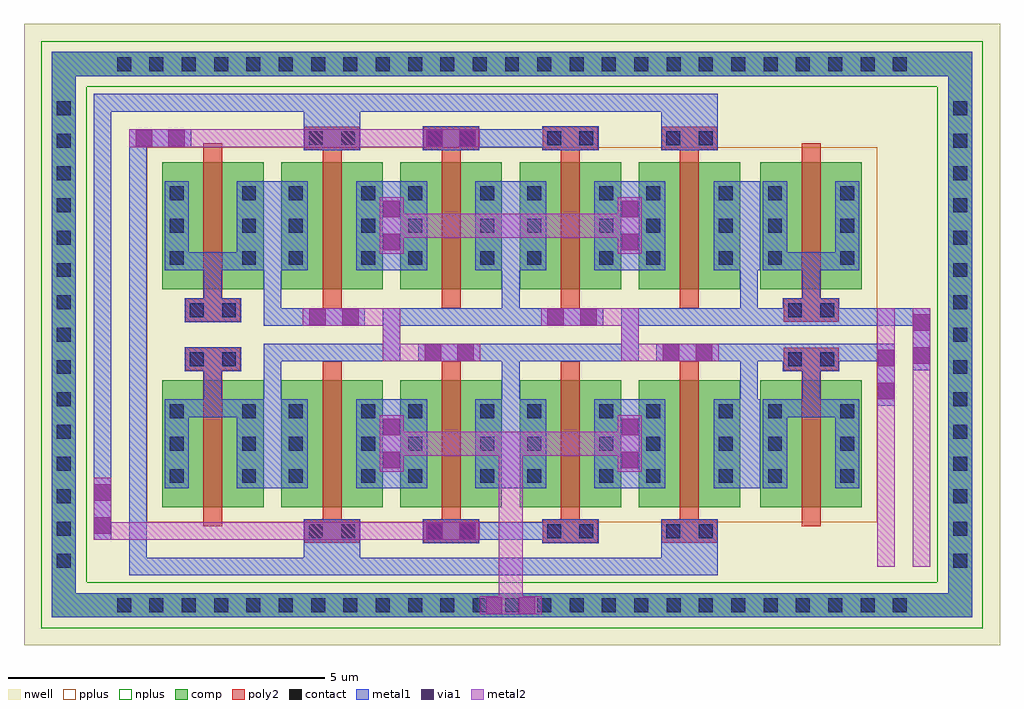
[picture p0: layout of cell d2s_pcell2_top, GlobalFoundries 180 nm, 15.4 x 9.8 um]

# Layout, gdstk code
import gdstk
lib = gdstk.Library(unit=1e-6, precision=5e-09)
def R(c, l, rs):  # rectangles x0, y0, x1, y1
    for r in rs: c.add(gdstk.rectangle(r[:2], r[2:], *l))
def A(c, l, x, y, w, h, nx, ny, dx, dy):  # array of equal rectangles
    R(c, l, [(x+i*dx, y+j*dy, x+i*dx+w, y+j*dy+h) for i in range(nx) for j in range(ny)])
nwell = (21, 0)
comp = (22, 0)
poly2 = (30, 0)
pplus = (31, 0)
nplus = (32, 0)
contact = (33, 0)
metal1 = (34, 0)
via1 = (35, 0)
metal2 = (36, 0)

d2s_pcell2_1_1 = lib.new_cell('d2s_pcell2_1$1')
R(d2s_pcell2_1_1, comp, [(0,0.3,0.46,2.3), (0.46,0.3,1.14,2.3), (1.14,0.3,1.6,2.3)])
R(d2s_pcell2_1_1, poly2, [(0.65,0,0.95,2.6)])
A(d2s_pcell2_1_1, contact, 0.12, 0.68, 0.22, 0.22, 1, 3, 0, 0.51)
A(d2s_pcell2_1_1, contact, 1.26, 0.68, 0.22, 0.22, 1, 3, 0, 0.51)
R(d2s_pcell2_1_1, metal1, [(0.04,0.6,0.42,2), (1.18,0.6,1.56,2)])

d2s_pcell2_4 = lib.new_cell('d2s_pcell2_4')
A(d2s_pcell2_4, poly2, 2.245, 2.725, 0.87, 0.36, 4, 1, 1.88, 0)
R(d2s_pcell2_4, poly2, [(0.365,0.01,1.235,0.37), (9.805,0.01,10.675,0.37)])
R(d2s_pcell2_4, contact, [(0.435,0.08,0.655,0.3), (0.945,0.08,1.165,0.3), (9.875,0.08,10.095,0.3), (10.385,0.08,10.605,0.3), (2.315,2.795,2.535,3.015), (2.825,2.795,3.045,3.015), (4.195,2.795,4.415,3.015), (4.705,2.795,4.925,3.015), (6.075,2.795,6.295,3.015), (6.585,2.795,6.805,3.015), (7.955,2.795,8.175,3.015), (8.465,2.795,8.685,3.015)])
A(d2s_pcell2_4, metal1, 1.56, 0.825, 0.36, 1.4, 5, 1, 1.88, 0)
R(d2s_pcell2_4, metal1, [(0.355,0,1.245,0.38), (9.795,0,10.685,0.38), (2.235,2.715,3.125,3.605), (4.115,2.715,5.005,3.095), (5.995,2.715,6.885,3.095), (7.875,2.715,8.765,3.605)])
R(d2s_pcell2_4, via1, [(3.49,1.135,3.75,1.395), (7.25,1.135,7.51,1.395), (3.49,1.655,3.75,1.915), (7.25,1.655,7.51,1.915), (4.17,2.775,4.43,3.035), (4.69,2.775,4.95,3.035)])
R(d2s_pcell2_4, metal2, [(3.43,1.08,3.81,1.97), (7.19,1.08,7.57,1.97)])
d2s_pcell2_4.add(gdstk.FlexPath([(0.8,0.38),(0.8,0.825)], 0.28, ends="flush", simple_path=True, layer=34, datatype=0))  # metal1
d2s_pcell2_4.add(gdstk.FlexPath([(1.18,0.965),(0.42,0.965)], 0.28, ends="flush", simple_path=True, layer=34, datatype=0))  # metal1
d2s_pcell2_4.add(gdstk.FlexPath([(10.24,0.38),(10.24,0.825)], 0.28, ends="flush", simple_path=True, layer=34, datatype=0))  # metal1
d2s_pcell2_4.add(gdstk.FlexPath([(10.62,0.965),(9.86,0.965)], 0.28, ends="flush", simple_path=True, layer=34, datatype=0))  # metal1
d2s_pcell2_4.add(gdstk.FlexPath([(5.995,2.905),(5.005,2.905)], 0.28, ends="flush", simple_path=True, layer=34, datatype=0))  # metal1
d2s_pcell2_4.add(gdstk.FlexPath([(8.765,3.465),(2.235,3.465)], 0.28, ends="flush", simple_path=True, layer=34, datatype=0))  # metal1
d2s_pcell2_4.add(gdstk.FlexPath([(3.81,1.525),(7.19,1.525)], 0.38, ends="flush", simple_path=True, layer=36, datatype=0))  # metal2
d2s_pcell2_4.add(gdstk.Reference(d2s_pcell2_1_1, (0,0.225)))
d2s_pcell2_4.add(gdstk.Reference(d2s_pcell2_1_1, (1.88,0.225)))
d2s_pcell2_4.add(gdstk.Reference(d2s_pcell2_1_1, (3.76,0.225)))
d2s_pcell2_4.add(gdstk.Reference(d2s_pcell2_1_1, (5.64,0.225)))
d2s_pcell2_4.add(gdstk.Reference(d2s_pcell2_1_1, (7.52,0.225)))
d2s_pcell2_4.add(gdstk.Reference(d2s_pcell2_1_1, (9.44,0.225)))

d2s_pcell2_top = lib.new_cell('d2s_pcell2_top')
R(d2s_pcell2_top, nwell, [(-0.405,-0.505,14.995,9.3)])
R(d2s_pcell2_top, pplus, [(1.535,1.435,13.055,7.355)])
A(d2s_pcell2_top, contact, 1.065, 0.015, 0.22, 0.22, 25, 2, 0.51, 8.54)
A(d2s_pcell2_top, contact, 0.115, 0.715, 0.22, 0.22, 1, 15, 0, 0.51)
A(d2s_pcell2_top, contact, 14.255, 0.715, 0.22, 0.22, 1, 15, 0, 0.51)
R(d2s_pcell2_top, via1, [(6.885,-0.005,7.145,0.255), (7.405,-0.005,7.665,0.255), (0.705,1.255,0.965,1.515), (0.705,1.775,0.965,2.035), (13.065,3.375,13.325,3.635), (13.065,3.895,13.325,4.155), (13.625,3.935,13.885,4.195), (5.915,3.985,6.175,4.245), (6.435,3.985,6.695,4.245), (9.675,3.985,9.935,4.245), (10.195,3.985,10.455,4.245), (13.625,4.455,13.885,4.715), (4.095,4.545,4.355,4.805), (4.615,4.545,4.875,4.805), (7.855,4.545,8.115,4.805), (8.375,4.545,8.635,4.805), (1.355,7.365,1.615,7.625), (1.875,7.365,2.135,7.625)])
d2s_pcell2_top.add(gdstk.FlexPath([(11.035,5.415),(11.035,4.815)], 0.28, ends="flush", simple_path=True, layer=34, datatype=0))  # metal1
d2s_pcell2_top.add(gdstk.FlexPath([(7.275,5.415),(7.275,4.815)], 0.28, ends="flush", simple_path=True, layer=34, datatype=0))  # metal1
d2s_pcell2_top.add(gdstk.FlexPath([(3.515,5.415),(3.515,4.815)], 0.28, ends="flush", simple_path=True, layer=34, datatype=0))  # metal1
d2s_pcell2_top.add(gdstk.FlexPath([(6.795,4.675),(5.395,4.675),(5.395,4.115),(3.995,4.115)], 0.28, ends="flush", simple_path=True, layer=34, datatype=0))  # metal1
d2s_pcell2_top.add(gdstk.FlexPath([(4.975,4.675),(3.995,4.675)], 0.28, ends="flush", simple_path=True, layer=34, datatype=0))  # metal1
d2s_pcell2_top.add(gdstk.FlexPath([(6.795,4.115),(5.815,4.115)], 0.28, ends="flush", simple_path=True, layer=34, datatype=0))  # metal1
d2s_pcell2_top.add(gdstk.FlexPath([(6.795,4.675),(7.755,4.675)], 0.28, ends="flush", simple_path=True, layer=34, datatype=0))  # metal1
d2s_pcell2_top.add(gdstk.FlexPath([(6.795,4.115),(7.755,4.115)], 0.28, ends="flush", simple_path=True, layer=34, datatype=0))  # metal1
d2s_pcell2_top.add(gdstk.FlexPath([(3.995,4.675),(3.375,4.675)], 0.28, ends="flush", simple_path=True, layer=34, datatype=0))  # metal1
d2s_pcell2_top.add(gdstk.FlexPath([(3.995,4.115),(3.375,4.115)], 0.28, ends="flush", simple_path=True, layer=34, datatype=0))  # metal1
d2s_pcell2_top.add(gdstk.FlexPath([(7.275,5.415),(7.275,4.815)], 0.28, ends="flush", simple_path=True, layer=34, datatype=0))  # metal1
d2s_pcell2_top.add(gdstk.FlexPath([(10.555,4.675),(9.155,4.675),(9.155,4.115),(7.755,4.115)], 0.28, ends="flush", simple_path=True, layer=34, datatype=0))  # metal1
d2s_pcell2_top.add(gdstk.FlexPath([(8.735,4.675),(7.755,4.675)], 0.28, ends="flush", simple_path=True, layer=34, datatype=0))  # metal1
d2s_pcell2_top.add(gdstk.FlexPath([(10.555,4.115),(9.575,4.115)], 0.28, ends="flush", simple_path=True, layer=34, datatype=0))  # metal1
d2s_pcell2_top.add(gdstk.FlexPath([(11.175,4.675),(10.555,4.675)], 0.28, ends="flush", simple_path=True, layer=34, datatype=0))  # metal1
d2s_pcell2_top.add(gdstk.FlexPath([(11.175,4.115),(10.555,4.115)], 0.28, ends="flush", simple_path=True, layer=34, datatype=0))  # metal1
d2s_pcell2_top.add(gdstk.FlexPath([(11.035,3.975),(11.035,3.375)], 0.28, ends="flush", simple_path=True, layer=34, datatype=0))  # metal1
d2s_pcell2_top.add(gdstk.FlexPath([(7.275,3.975),(7.275,3.375)], 0.28, ends="flush", simple_path=True, layer=34, datatype=0))  # metal1
d2s_pcell2_top.add(gdstk.FlexPath([(3.515,3.975),(3.515,3.375)], 0.28, ends="flush", simple_path=True, layer=34, datatype=0))  # metal1
d2s_pcell2_top.add(gdstk.FlexPath([(7.275,3.975),(7.275,3.375)], 0.28, ends="flush", simple_path=True, layer=34, datatype=0))  # metal1
d2s_pcell2_top.add(gdstk.FlexPath([(13.755,4.815),(13.755,3.835)], 0.28, ends="flush", simple_path=True, layer=34, datatype=0))  # metal1
d2s_pcell2_top.add(gdstk.FlexPath([(13.195,4.255),(13.195,3.275)], 0.28, ends="flush", simple_path=True, layer=34, datatype=0))  # metal1
d2s_pcell2_top.add(gdstk.FlexPath([(11.175,4.115),(13.335,4.115)], 0.28, ends="flush", simple_path=True, layer=34, datatype=0))  # metal1
d2s_pcell2_top.add(gdstk.FlexPath([(14.365,8.855),(14.365,0.125),(0.225,0.125),(0.225,8.665),(14.175,8.665)], 0.38, ends="flush", simple_path=True, layer=34, datatype=0))  # metal1
d2s_pcell2_top.add(gdstk.FlexPath([(11.175,4.675),(13.615,4.675)], 0.28, ends="flush", simple_path=True, layer=34, datatype=0))  # metal1
d2s_pcell2_top.add(gdstk.FlexPath([(1.395,7.635),(1.395,0.875)], 0.28, ends="flush", simple_path=True, layer=34, datatype=0))  # metal1
d2s_pcell2_top.add(gdstk.FlexPath([(4.01,0.735),(1.255,0.735)], 0.28, ends="flush", simple_path=True, layer=34, datatype=0))  # metal1
d2s_pcell2_top.add(gdstk.FlexPath([(2.235,7.495),(1.255,7.495)], 0.28, ends="flush", simple_path=True, layer=34, datatype=0))  # metal1
d2s_pcell2_top.add(gdstk.FlexPath([(0.835,8.195),(0.835,1.155)], 0.28, ends="flush", simple_path=True, layer=34, datatype=0))  # metal1
d2s_pcell2_top.add(gdstk.FlexPath([(4.01,8.055),(0.975,8.055)], 0.28, ends="flush", simple_path=True, layer=34, datatype=0))  # metal1
d2s_pcell2_top.add(gdstk.FlexPath([(14.365,8.855),(14.365,0.125),(0.225,0.125),(0.225,8.665),(14.175,8.665)], 0.38, ends="flush", simple_path=True, layer=22, datatype=0))  # comp
d2s_pcell2_top.add(gdstk.FlexPath([(7.275,0.265),(7.275,2.485)], 0.38, ends="flush", simple_path=True, layer=36, datatype=0))  # metal2
d2s_pcell2_top.add(gdstk.FlexPath([(6.785,0.125),(7.765,0.125)], 0.28, ends="flush", simple_path=True, layer=36, datatype=0))  # metal2
d2s_pcell2_top.add(gdstk.FlexPath([(10.555,4.115),(9.155,4.115),(9.155,4.675),(7.755,4.675)], 0.28, ends="flush", simple_path=True, layer=36, datatype=0))  # metal2
d2s_pcell2_top.add(gdstk.FlexPath([(6.795,4.115),(5.395,4.115),(5.395,4.675),(3.995,4.675)], 0.28, ends="flush", simple_path=True, layer=36, datatype=0))  # metal2
d2s_pcell2_top.add(gdstk.FlexPath([(13.755,4.815),(13.755,0.73)], 0.28, ends="flush", simple_path=True, layer=36, datatype=0))  # metal2
d2s_pcell2_top.add(gdstk.FlexPath([(13.755,4.815),(13.755,3.835)], 0.28, ends="flush", simple_path=True, layer=36, datatype=0))  # metal2
d2s_pcell2_top.add(gdstk.FlexPath([(13.195,4.255),(13.195,3.275)], 0.28, ends="flush", simple_path=True, layer=36, datatype=0))  # metal2
d2s_pcell2_top.add(gdstk.FlexPath([(13.195,4.815),(13.195,0.73)], 0.28, ends="flush", simple_path=True, layer=36, datatype=0))  # metal2
d2s_pcell2_top.add(gdstk.FlexPath([(6.785,7.495),(1.255,7.495)], 0.28, ends="flush", simple_path=True, layer=36, datatype=0))  # metal2
d2s_pcell2_top.add(gdstk.FlexPath([(6.785,1.295),(0.975,1.295)], 0.28, ends="flush", simple_path=True, layer=36, datatype=0))  # metal2
d2s_pcell2_top.add(gdstk.FlexPath([(0.835,1.155),(0.835,2.135)], 0.28, ends="flush", simple_path=True, layer=36, datatype=0))  # metal2
d2s_pcell2_top.add(gdstk.FlexPath([(14.365,9.025),(14.365,0.125),(0.225,0.125),(0.225,8.665),(14.725,8.665)], 0.72, ends="flush", simple_path=True, layer=32, datatype=0))  # nplus
d2s_pcell2_top.add(gdstk.Reference(d2s_pcell2_4, (1.775,4.2), x_reflection=True))
d2s_pcell2_top.add(gdstk.Reference(d2s_pcell2_4, (1.775,4.59)))

lib.write_gds('d2s_pcell2_top.gds')
